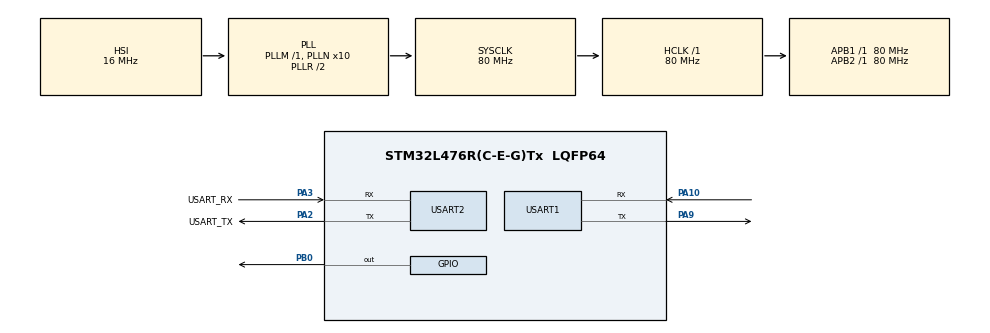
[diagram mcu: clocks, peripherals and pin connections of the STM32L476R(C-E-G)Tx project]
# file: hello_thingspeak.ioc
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Mcu.Family=STM32L4
Dma.USART2_RX.2.PeriphDataAlignment=DMA_PDATAALIGN_BYTE
PA2.GPIO_PuPd=GPIO_NOPULL
VP_SYS_VS_tim6.Mode=TIM6
RCC.CortexFreq_Value=80000000
NVIC.DMA1_Channel5_IRQn=true\:5\:0\:false\:false\:true\:true\:false\:true
Dma.USART1_TX.1.MemInc=DMA_MINC_ENABLE
NVIC.TIM6_DAC_IRQn=true\:0\:0\:false\:false\:true\:false\:false\:true
Dma.USART2_TX.3.MemInc=DMA_MINC_ENABLE
PH0-OSC_IN\ (PH0).Signal=RCC_OSC_IN
PA3.GPIO_PuPd=GPIO_NOPULL
PA2.GPIO_Speed=GPIO_SPEED_FREQ_VERY_HIGH
Dma.USART2_TX.3.Direction=DMA_MEMORY_TO_PERIPH
PC15-OSC32_OUT\ (PC15).Mode=LSE-External-Oscillator
PA3.GPIO_Speed=GPIO_SPEED_FREQ_VERY_HIGH
RCC.SYSCLKSource=RCC_SYSCLKSOURCE_PLLCLK
ProjectManager.StackSize=0x400
PB3\ (JTDO-TRACESWO).Signal=SYS_JTDO-SWO
PC14-OSC32_IN\ (PC14).Mode=LSE-External-Oscillator
VP_FREERTOS_VS_CMSIS_V2.Mode=CMSIS_V2
PA14\ (JTCK-SWCLK).Signal=SYS_JTCK-SWCLK
RCC.HCLKFreq_Value=80000000
RCC.APB2TimFreq_Value=80000000
Dma.USART2_RX.2.Priority=DMA_PRIORITY_LOW
Dma.USART2_RX.2.MemDataAlignment=DMA_MDATAALIGN_BYTE
RCC.AHBFreq_Value=80000000
RCC.PREFETCH_ENABLE=1
Dma.USART1_RX.0.Priority=DMA_PRIORITY_LOW
RCC.HSE_VALUE=8000000
USART2.VirtualMode-Asynchronous=VM_ASYNC
Dma.USART1_RX.0.MemInc=DMA_MINC_ENABLE
Dma.USART1_TX.1.PeriphDataAlignment=DMA_PDATAALIGN_BYTE
Mcu.Package=LQFP64
NVIC.TimeBase=TIM6_DAC_IRQn
PA2.GPIO_Label=USART_TX
NVIC.TimeBaseIP=TIM6
PA10.Signal=USART1_RX
Dma.USART2_RX.2.Direction=DMA_PERIPH_TO_MEMORY
Dma.Request2=USART2_RX
Dma.Request1=USART1_TX
RCC.APB1TimFreq_Value=80000000
Dma.Request3=USART2_TX
Dma.USART1_RX.0.Mode=DMA_CIRCULAR
Dma.USART1_TX.1.Priority=DMA_PRIORITY_LOW
NVIC.DMA1_Channel4_IRQn=true\:5\:0\:false\:false\:true\:true\:false\:true
PA13\ (JTMS-SWDIO).Signal=SYS_JTMS-SWDIO
NVIC.USART1_IRQn=true\:5\:0\:false\:false\:true\:true\:true\:true
Dma.Request0=USART1_RX
Dma.USART1_RX.0.Instance=DMA1_Channel5
PA3.Signal=USART2_RX
PA2.GPIO_Mode=GPIO_MODE_AF_PP
Dma.USART1_TX.1.Direction=DMA_MEMORY_TO_PERIPH
RCC.MSI_VALUE=4000000
RCC.PLLSourceVirtual=RCC_PLLSOURCE_HSI
PA14\ (JTCK-SWCLK).Mode=Serial_Wire
Dma.USART2_TX.3.MemDataAlignment=DMA_MDATAALIGN_BYTE
NVIC.DMA1_Channel6_IRQn=true\:5\:0\:false\:false\:true\:true\:false\:true
Dma.USART1_TX.1.Instance=DMA1_Channel4
FREERTOS.Tasks01=tinkerTask,24,128,StartTinkerTask,Default,NULL,Dynamic,NULL,NULL
Dma.USART1_RX.0.PeriphDataAlignment=DMA_PDATAALIGN_BYTE
PA10.Mode=Asynchronous
Dma.USART2_TX.3.Instance=DMA1_Channel7
PC15-OSC32_OUT\ (PC15).Signal=RCC_OSC32_OUT
Dma.USART2_TX.3.PeriphInc=DMA_PINC_DISABLE
PA14\ (JTCK-SWCLK).GPIO_Label=TCK
PB3\ (JTDO-TRACESWO).GPIO_Label=SWO
NVIC.USART2_IRQn=true\:5\:0\:false\:false\:true\:true\:true\:true
Dma.USART2_RX.2.Mode=DMA_CIRCULAR
PH1-OSC_OUT\ (PH1).Signal=RCC_OSC_OUT
USART1.VirtualMode-Asynchronous=VM_ASYNC
PA3.Mode=Asynchronous
PA9.Mode=Asynchronous
Dma.USART2_RX.2.MemInc=DMA_MINC_ENABLE
ProjectManager.TargetToolchain=STM32CubeIDE
PA3.GPIO_Mode=GPIO_MODE_AF_PP
Dma.USART1_RX.0.Direction=DMA_PERIPH_TO_MEMORY
PA9.Signal=USART1_TX
Dma.USART2_TX.3.PeriphDataAlignment=DMA_PDATAALIGN_BYTE
RCC.USBFreq_Value=64000000
Dma.USART1_RX.0.PeriphInc=DMA_PINC_DISABLE
Dma.USART1_TX.1.MemDataAlignment=DMA_MDATAALIGN_BYTE
board=NUCLEO-L476RG
RCC.VCOOutputFreq_Value=160000000
Dma.USART2_RX.2.PeriphInc=DMA_PINC_DISABLE
RCC.APB2Freq_Value=80000000
PA13\ (JTMS-SWDIO).GPIO_Label=TMS
Dma.USART2_TX.3.Mode=DMA_NORMAL
RCC.ADCFreq_Value=64000000
Dma.USART1_RX.0.MemDataAlignment=DMA_MDATAALIGN_BYTE
Mcu.Name=STM32L476R(C-E-G)Tx
PA2.Signal=USART2_TX
PA13\ (JTMS-SWDIO).Mode=Serial_Wire
RCC.SYSCLKFreq_VALUE=80000000
Dma.USART2_RX.2.Instance=DMA1_Channel6
PC14-OSC32_IN\ (PC14).Signal=RCC_OSC32_IN
Dma.USART1_TX.1.Mode=DMA_NORMAL
ProjectManager.HeapSize=0x200
Dma.USART1_TX.1.PeriphInc=DMA_PINC_DISABLE
RCC.HSI_VALUE=16000000
Dma.USART2_TX.3.Priority=DMA_PRIORITY_LOW
NVIC.PriorityGroup=NVIC_PRIORITYGROUP_4
RCC.PLLN=10
PA2.Mode=Asynchronous
NVIC.DMA1_Channel7_IRQn=true\:5\:0\:false\:false\:true\:true\:false\:true
RCC.APB1Freq_Value=80000000
PB0.Signal=GPIO_Output
PA3.GPIO_Label=USART_RX

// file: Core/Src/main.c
/* USER CODE BEGIN Header */
/**
  ******************************************************************************
  * @file           : main.c
  * @brief          : Main program body
  ******************************************************************************
  * @attention
  *
  * <h2><center>&copy; Copyright (c) 2021 STMicroelectronics.
  * All rights reserved.</center></h2>
  *
  * This software component is licensed by ST under BSD 3-Clause license,
  * the "License"; You may not use this file except in compliance with the
  * License. You may obtain a copy of the License at:
  *                        opensource.org/licenses/BSD-3-Clause
  *
  ******************************************************************************
  */
/* USER CODE END Header */
#include "main.h"
#include "cmsis_os.h"

/* USER CODE BEGIN Includes */
#include <stdio.h>
#include <string.h>

#include "thingspeak.h"
/* USER CODE END Includes */

/* USER CODE BEGIN PD */
#ifdef __GNUC__
	#define PUTCHAR_PROTOTYPE int __io_putchar(int ch)
#else
	#define PUTCHAR_PROTOTYPE int fputc(int ch, FILE *f)
#endif /* __GNUC__ */

/* USER CODE END PD */

UART_HandleTypeDef huart1;
UART_HandleTypeDef huart2;
DMA_HandleTypeDef hdma_usart1_rx;
DMA_HandleTypeDef hdma_usart1_tx;
DMA_HandleTypeDef hdma_usart2_rx;
DMA_HandleTypeDef hdma_usart2_tx;

/* Definitions for tinkerTask */
osThreadId_t tinkerTaskHandle;
const osThreadAttr_t tinkerTask_attributes = {
  .name = "tinkerTask",
  .stack_size = 128 * 4,
  .priority = (osPriority_t) osPriorityNormal,
};

void SystemClock_Config(void);
static void MX_GPIO_Init(void);
static void MX_DMA_Init(void);
static void MX_USART2_UART_Init(void);
static void MX_USART1_UART_Init(void);
void StartTinkerTask(void *argument);

/* USER CODE BEGIN 0 */
PUTCHAR_PROTOTYPE
{
	HAL_UART_Transmit(&huart2, (uint8_t *)&ch, 1, HAL_MAX_DELAY);
	return ch;
}

extern ThingSpeakHandle_t xThingSpeak;

/* USER CODE END 0 */

int main(void)
{

  /* MCU Configuration--------------------------------------------------------*/

  /* Reset of all peripherals, Initializes the Flash interface and the Systick. */
  HAL_Init();

  /* Configure the system clock */
  SystemClock_Config();

  /* Initialize all configured peripherals */
  MX_GPIO_Init();
  MX_DMA_Init();
  MX_USART2_UART_Init();
  MX_USART1_UART_Init();

  /* Init scheduler */
  osKernelInitialize();

  /* Create the thread(s) */
  /* creation of tinkerTask */
  tinkerTaskHandle = osThreadNew(StartTinkerTask, NULL, &tinkerTask_attributes);

  /* USER CODE BEGIN RTOS_EVENTS */
  /* add events, ... */
  vInitThingSpeak(&xThingSpeak, &huart1, &hdma_usart1_rx,
  		THINGSPEAK_TASK_NAME, THINGSPEAK_TASK_SIZE, THINGSPEAK_TASK_PRIORITY,
  		PROCESS_MESSAGE_TASK_NAME, PROCESS_MESSAGE_TASK_SIZE, PROCESS_MESSAGE_TASK_PRIORITY);

  /* USER CODE END RTOS_EVENTS */

  /* Start scheduler */
  osKernelStart();

  /* We should never get here as control is now taken by the scheduler */
  /* Infinite loop */
  while (1)
  {

  }
}

void SystemClock_Config(void)
{
  RCC_OscInitTypeDef RCC_OscInitStruct = {0};
  RCC_ClkInitTypeDef RCC_ClkInitStruct = {0};
  RCC_PeriphCLKInitTypeDef PeriphClkInit = {0};

  /** Initializes the RCC Oscillators according to the specified parameters
  * in the RCC_OscInitTypeDef structure.
  */
  RCC_OscInitStruct.OscillatorType = RCC_OSCILLATORTYPE_HSI;
  RCC_OscInitStruct.HSIState = RCC_HSI_ON;
  RCC_OscInitStruct.HSICalibrationValue = RCC_HSICALIBRATION_DEFAULT;
  RCC_OscInitStruct.PLL.PLLState = RCC_PLL_ON;
  RCC_OscInitStruct.PLL.PLLSource = RCC_PLLSOURCE_HSI;
  RCC_OscInitStruct.PLL.PLLM = 1;
  RCC_OscInitStruct.PLL.PLLN = 10;
  RCC_OscInitStruct.PLL.PLLP = RCC_PLLP_DIV7;
  RCC_OscInitStruct.PLL.PLLQ = RCC_PLLQ_DIV2;
  RCC_OscInitStruct.PLL.PLLR = RCC_PLLR_DIV2;
  if (HAL_RCC_OscConfig(&RCC_OscInitStruct) != HAL_OK)
  {
    Error_Handler();
  }
  /** Initializes the CPU, AHB and APB buses clocks
  */
  RCC_ClkInitStruct.ClockType = RCC_CLOCKTYPE_HCLK|RCC_CLOCKTYPE_SYSCLK
                              |RCC_CLOCKTYPE_PCLK1|RCC_CLOCKTYPE_PCLK2;
  RCC_ClkInitStruct.SYSCLKSource = RCC_SYSCLKSOURCE_PLLCLK;
  RCC_ClkInitStruct.AHBCLKDivider = RCC_SYSCLK_DIV1;
  RCC_ClkInitStruct.APB1CLKDivider = RCC_HCLK_DIV1;
  RCC_ClkInitStruct.APB2CLKDivider = RCC_HCLK_DIV1;

  if (HAL_RCC_ClockConfig(&RCC_ClkInitStruct, FLASH_LATENCY_4) != HAL_OK)
  {
    Error_Handler();
  }
  PeriphClkInit.PeriphClockSelection = RCC_PERIPHCLK_USART1|RCC_PERIPHCLK_USART2;
  PeriphClkInit.Usart1ClockSelection = RCC_USART1CLKSOURCE_PCLK2;
  PeriphClkInit.Usart2ClockSelection = RCC_USART2CLKSOURCE_PCLK1;
  if (HAL_RCCEx_PeriphCLKConfig(&PeriphClkInit) != HAL_OK)
  {
    Error_Handler();
  }
  /** Configure the main internal regulator output voltage
  */
  if (HAL_PWREx_ControlVoltageScaling(PWR_REGULATOR_VOLTAGE_SCALE1) != HAL_OK)
  {
    Error_Handler();
  }
}

static void MX_USART1_UART_Init(void)
{

  huart1.Instance = USART1;
  huart1.Init.BaudRate = 115200;
  huart1.Init.WordLength = UART_WORDLENGTH_8B;
  huart1.Init.StopBits = UART_STOPBITS_1;
  huart1.Init.Parity = UART_PARITY_NONE;
  huart1.Init.Mode = UART_MODE_TX_RX;
  huart1.Init.HwFlowCtl = UART_HWCONTROL_NONE;
  huart1.Init.OverSampling = UART_OVERSAMPLING_16;
  huart1.Init.OneBitSampling = UART_ONE_BIT_SAMPLE_DISABLE;
  huart1.AdvancedInit.AdvFeatureInit = UART_ADVFEATURE_NO_INIT;
  if (HAL_UART_Init(&huart1) != HAL_OK)
  {
    Error_Handler();
  }

}

static void MX_USART2_UART_Init(void)
{

  huart2.Instance = USART2;
  huart2.Init.BaudRate = 115200;
  huart2.Init.WordLength = UART_WORDLENGTH_8B;
  huart2.Init.StopBits = UART_STOPBITS_1;
  huart2.Init.Parity = UART_PARITY_NONE;
  huart2.Init.Mode = UART_MODE_TX_RX;
  huart2.Init.HwFlowCtl = UART_HWCONTROL_NONE;
  huart2.Init.OverSampling = UART_OVERSAMPLING_16;
  huart2.Init.OneBitSampling = UART_ONE_BIT_SAMPLE_DISABLE;
  huart2.AdvancedInit.AdvFeatureInit = UART_ADVFEATURE_NO_INIT;
  if (HAL_UART_Init(&huart2) != HAL_OK)
  {
    Error_Handler();
  }

}

static void MX_DMA_Init(void)
{

  /* DMA controller clock enable */
  __HAL_RCC_DMA1_CLK_ENABLE();

  /* DMA interrupt init */
  /* DMA1_Channel4_IRQn interrupt configuration */
  HAL_NVIC_SetPriority(DMA1_Channel4_IRQn, 5, 0);
  HAL_NVIC_EnableIRQ(DMA1_Channel4_IRQn);
  /* DMA1_Channel5_IRQn interrupt configuration */
  HAL_NVIC_SetPriority(DMA1_Channel5_IRQn, 5, 0);
  HAL_NVIC_EnableIRQ(DMA1_Channel5_IRQn);
  /* DMA1_Channel6_IRQn interrupt configuration */
  HAL_NVIC_SetPriority(DMA1_Channel6_IRQn, 5, 0);
  HAL_NVIC_EnableIRQ(DMA1_Channel6_IRQn);
  /* DMA1_Channel7_IRQn interrupt configuration */
  HAL_NVIC_SetPriority(DMA1_Channel7_IRQn, 5, 0);
  HAL_NVIC_EnableIRQ(DMA1_Channel7_IRQn);

}

static void MX_GPIO_Init(void)
{
  GPIO_InitTypeDef GPIO_InitStruct = {0};

  /* GPIO Ports Clock Enable */
  __HAL_RCC_GPIOC_CLK_ENABLE();
  __HAL_RCC_GPIOH_CLK_ENABLE();
  __HAL_RCC_GPIOA_CLK_ENABLE();
  __HAL_RCC_GPIOB_CLK_ENABLE();

  /*Configure GPIO pin Output Level */
  HAL_GPIO_WritePin(GPIOB, GPIO_PIN_0, GPIO_PIN_RESET);

  /*Configure GPIO pin : PB0 */
  GPIO_InitStruct.Pin = GPIO_PIN_0;
  GPIO_InitStruct.Mode = GPIO_MODE_OUTPUT_PP;
  GPIO_InitStruct.Pull = GPIO_NOPULL;
  GPIO_InitStruct.Speed = GPIO_SPEED_FREQ_LOW;
  HAL_GPIO_Init(GPIOB, &GPIO_InitStruct);

}

void StartTinkerTask(void *argument)
{
  /* USER CODE BEGIN 5 */
  /* Infinite loop */
  for(;;)
  {
  	//HAL_GPIO_WritePin(GPIOB, GPIO_PIN_0, GPIO_PIN_SET);

  	//HAL_GPIO_TogglePin(GPIOB, GPIO_PIN_0);

  	//printf("hello task\r\n");

  	//bTransmitCommand(&xThingSpeak, "AT+CWLAP\r\n", 4 + 6);
  	//bTransmitCommand(&xThingSpeak, "AT\r\n", 4);

  	//bTransmitCommand(&xThingSpeak, "AT+CIFSR\r\n", 4 + 6);

  	//bTransmitThingSpeakData(&xThingSpeak, "HE3ZUVZ1MKI1FOPB", 1, i);
  	//i += 20;
  	osDelay(1000);
  	HAL_GPIO_TogglePin(GPIOB, GPIO_PIN_0);

  	//xTaskNotifyFromISR((TaskHandle_t)pxThingSpeak->xProcMessageTaskHandle, (uint32_t)pxThingSpeak->xRXBuffer.uHeadIndex, eSetValueWithOverwrite, &xHigherPriorityTaskWoken);
  	//portYIELD_FROM_ISR(xHigherPriorityTaskWoken);

  	//xTaskNotifyGive((TaskHandle_t)procMessageTaskHandle);

  }
  /* USER CODE END 5 */
}

 /**
  * @brief  Period elapsed callback in non blocking mode
  * @note   This function is called  when TIM6 interrupt took place, inside
  * HAL_TIM_IRQHandler(). It makes a direct call to HAL_IncTick() to increment
  * a global variable "uwTick" used as application time base.
  * @param  htim : TIM handle
  * @retval None
  */
void HAL_TIM_PeriodElapsedCallback(TIM_HandleTypeDef *htim)
{
  if (htim->Instance == TIM6) {
    HAL_IncTick();
  }
}

void Error_Handler(void)
{
  __disable_irq();
  while (1)
  {
  }
}

/************************ (C) COPYRIGHT STMicroelectronics *****END OF FILE****/
